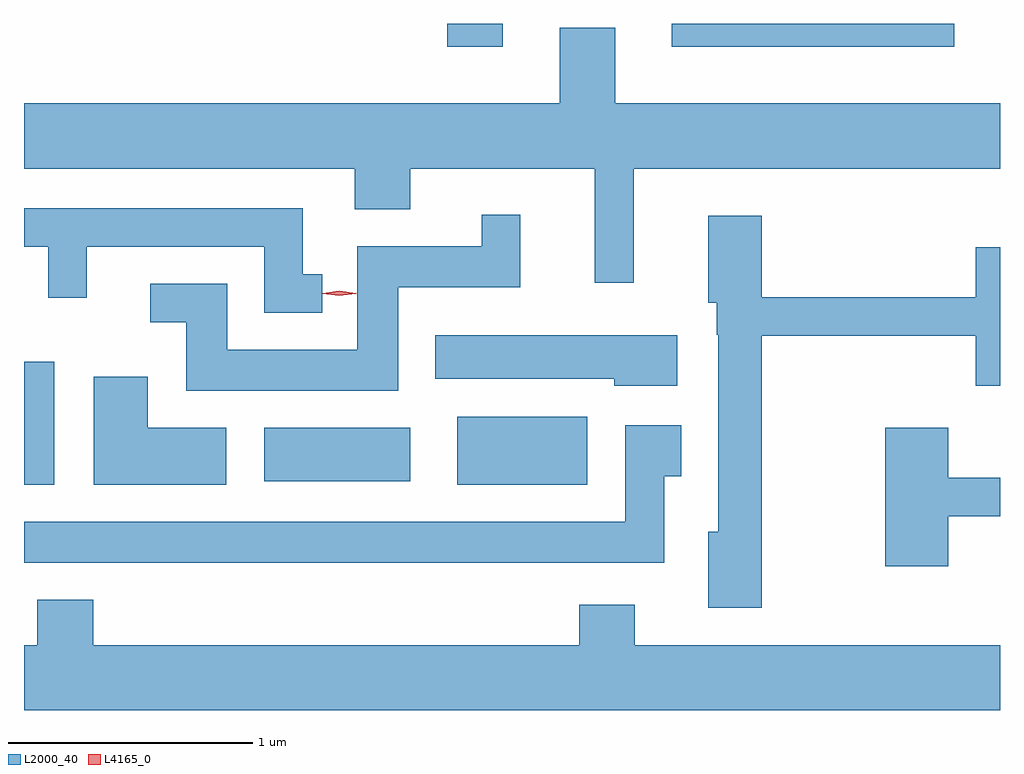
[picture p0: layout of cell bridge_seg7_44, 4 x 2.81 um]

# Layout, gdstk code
import gdstk
lib = gdstk.Library(unit=1e-6, precision=1e-09)
def R(c, l, rs):  # rectangles x0, y0, x1, y1
    for r in rs: c.add(gdstk.rectangle(r[:2], r[2:], *l))
def P(c, l, *ps):  # polygons
    for p in ps: c.add(gdstk.Polygon(p, *l))
L2000_40 = (2000, 40)
L4165_0 = (4165, 0)

bridge_seg7_44 = lib.new_cell('bridge_seg7_44')
R(bridge_seg7_44, L2000_40, [(1568.896,1770.741,1569.019,1771.244), (1570.671,1770.741,1571.204,1771.019), (1569.881,1770.756,1570.479,1770.974), (1570.631,1772.536,1570.859,1772.631), (1571.551,1772.536,1572.708,1772.631)])
P(bridge_seg7_44, L2000_40, [(1571.394,1772.036),(1572.896,1772.036),(1572.896,1772.304),(1571.319,1772.304),(1571.319,1772.614),(1571.091,1772.614),(1571.091,1772.304),(1568.896,1772.304),(1568.896,1772.036),(1570.251,1772.036),(1570.251,1771.871),(1570.479,1771.871),(1570.479,1772.036),(1571.236,1772.036),(1571.236,1771.568),(1571.394,1771.568)],
  [(1570.118,1771.604),(1570.039,1771.604),(1570.039,1771.874),(1568.896,1771.874),(1568.896,1771.716),(1568.996,1771.716),(1568.996,1771.508),(1569.154,1771.508),(1569.154,1771.716),(1569.881,1771.716),(1569.881,1771.446),(1570.118,1771.446)],
  [(1570.429,1771.551),(1570.929,1771.551),(1570.929,1771.848),(1570.771,1771.848),(1570.771,1771.719),(1570.261,1771.719),(1570.261,1771.294),(1569.729,1771.294),(1569.729,1771.564),(1569.413,1771.564),(1569.413,1771.406),(1569.561,1771.406),(1569.561,1771.126),(1570.429,1771.126)],
  [(1571.919,1771.351),(1572.796,1771.351),(1572.796,1771.146),(1572.896,1771.146),(1572.896,1771.714),(1572.796,1771.714),(1572.796,1771.509),(1571.919,1771.509),(1571.919,1771.844),(1571.701,1771.844),(1571.701,1771.486),(1571.736,1771.486),(1571.736,1771.355),(1571.741,1771.355),(1571.741,1770.549),(1571.701,1770.549),(1571.701,1770.236),(1571.919,1770.236)],
  [(1571.574,1771.354),(1570.581,1771.354),(1570.581,1771.176),(1571.316,1771.176),(1571.316,1771.146),(1571.574,1771.146)],
  [(1569.724,1770.974),(1569.404,1770.974),(1569.404,1771.184),(1569.181,1771.184),(1569.181,1770.741),(1569.724,1770.741)],
  [(1571.519,1770.776),(1571.589,1770.776),(1571.589,1770.984),(1571.361,1770.984),(1571.361,1770.589),(1568.896,1770.589),(1568.896,1770.421),(1571.519,1770.421)],
  [(1572.684,1770.611),(1572.896,1770.611),(1572.896,1770.769),(1572.684,1770.769),(1572.684,1770.974),(1572.426,1770.974),(1572.426,1770.406),(1572.684,1770.406)],
  [(1572.896,1770.084),(1571.399,1770.084),(1571.399,1770.249),(1571.171,1770.249),(1571.171,1770.084),(1569.179,1770.084),(1569.179,1770.269),(1568.951,1770.269),(1568.951,1770.084),(1568.896,1770.084),(1568.896,1769.816),(1572.896,1769.816)])
P(bridge_seg7_44, L4165_0, [(1570.189,1771.515),(1570.12,1771.524),(1570.119,1771.525),(1570.12,1771.525),(1570.189,1771.535),(1570.258,1771.525),(1570.258,1771.525),(1570.258,1771.524)],
  [(1570.189,1771.515),(1570.123,1771.525),(1570.122,1771.525),(1570.123,1771.526),(1570.189,1771.535),(1570.255,1771.526),(1570.256,1771.525),(1570.255,1771.525)])

lib.write_gds('bridge_seg7_44.gds')
